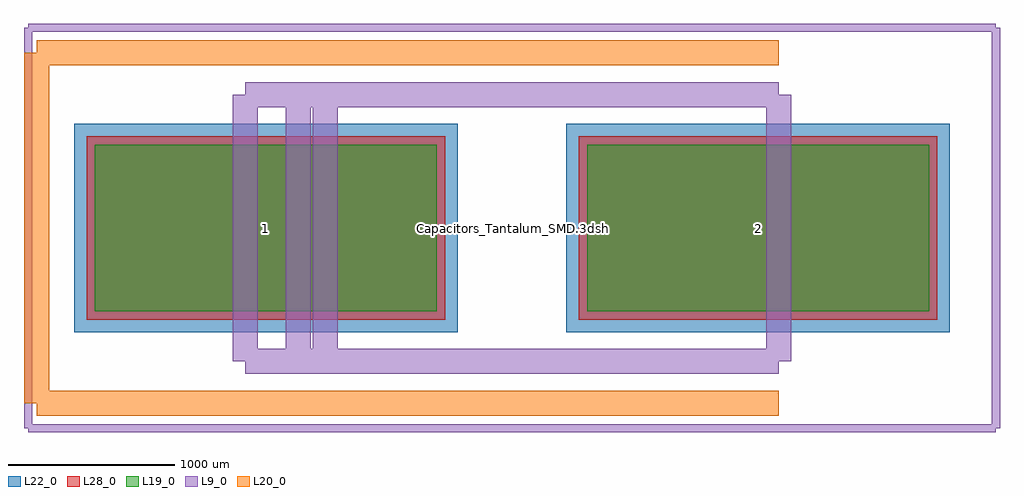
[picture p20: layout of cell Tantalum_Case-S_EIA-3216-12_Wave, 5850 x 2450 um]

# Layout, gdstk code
import gdstk
lib = gdstk.Library(unit=1e-6, precision=1e-09)
def R(c, l, rs):  # rectangles x0, y0, x1, y1
    for r in rs: c.add(gdstk.rectangle(r[:2], r[2:], *l))
L9_0 = (9, 0)
L19_0 = (19, 0)
L20_0 = (20, 0)
L22_0 = (22, 0)
L28_0 = (28, 0)

tantalum_case_s_eia_3216 = lib.new_cell('Tantalum_Case-S_EIA-3216-12_Wave')
R(tantalum_case_s_eia_3216, L19_0, [(-2500,-500,-450,500), (450,-500,2500,500)])
R(tantalum_case_s_eia_3216, L22_0, [(-2625,-625,-325,625), (325,-625,2625,625)])
R(tantalum_case_s_eia_3216, L28_0, [(-2550,-550,-400,550), (400,-550,2550,550)])
tantalum_case_s_eia_3216.add(gdstk.FlexPath([(-2850,1050),(-2850,-1050)], 149.998, ends="flush", simple_path=True, layer=20, datatype=0))  # L20_0
tantalum_case_s_eia_3216.add(gdstk.FlexPath([(-2850,-1050),(1600,-1050)], 149.998, ends="flush", simple_path=True, layer=20, datatype=0))  # L20_0
tantalum_case_s_eia_3216.add(gdstk.FlexPath([(-2850,1050),(1600,1050)], 149.998, ends="flush", simple_path=True, layer=20, datatype=0))  # L20_0
tantalum_case_s_eia_3216.add(gdstk.FlexPath([(-1120,800),(-1120,-800)], 149.998, ends="flush", simple_path=True, layer=9, datatype=0))  # L9_0
tantalum_case_s_eia_3216.add(gdstk.FlexPath([(-1280,800),(-1280,-800)], 149.998, ends="flush", simple_path=True, layer=9, datatype=0))  # L9_0
tantalum_case_s_eia_3216.add(gdstk.FlexPath([(1600,800),(-1600,800)], 149.998, ends="flush", simple_path=True, layer=9, datatype=0))  # L9_0
tantalum_case_s_eia_3216.add(gdstk.FlexPath([(1600,-800),(1600,800)], 149.998, ends="flush", simple_path=True, layer=9, datatype=0))  # L9_0
tantalum_case_s_eia_3216.add(gdstk.FlexPath([(-1600,-800),(1600,-800)], 149.998, ends="flush", simple_path=True, layer=9, datatype=0))  # L9_0
tantalum_case_s_eia_3216.add(gdstk.FlexPath([(-1600,800),(-1600,-800)], 149.998, ends="flush", simple_path=True, layer=9, datatype=0))  # L9_0
tantalum_case_s_eia_3216.add(gdstk.FlexPath([(2900,1200),(-2900,1200)], 50, ends="flush", simple_path=True, layer=9, datatype=0))  # L9_0
tantalum_case_s_eia_3216.add(gdstk.FlexPath([(2900,-1200),(2900,1200)], 50, ends="flush", simple_path=True, layer=9, datatype=0))  # L9_0
tantalum_case_s_eia_3216.add(gdstk.FlexPath([(-2900,-1200),(2900,-1200)], 50, ends="flush", simple_path=True, layer=9, datatype=0))  # L9_0
tantalum_case_s_eia_3216.add(gdstk.FlexPath([(-2900,1200),(-2900,-1200)], 50, ends="flush", simple_path=True, layer=9, datatype=0))  # L9_0
tantalum_case_s_eia_3216.add(gdstk.Label('Capacitors_Tantalum_SMD.3dshapes/Tantalum_Case-S_EIA-3216-12.wrl', (0,0), layer=12, texttype=0))
tantalum_case_s_eia_3216.add(gdstk.Label('2', (1475,0), layer=28, texttype=0))
tantalum_case_s_eia_3216.add(gdstk.Label('1', (-1475,0), layer=28, texttype=0))
tantalum_case_s_eia_3216.add(gdstk.Label('type', (0,-2550), layer=9, texttype=0))
tantalum_case_s_eia_3216.add(gdstk.Label('devicename', (0,2550), layer=9, texttype=0))

lib.write_gds('Tantalum_Case-S_EIA-3216-12_Wave.gds')
